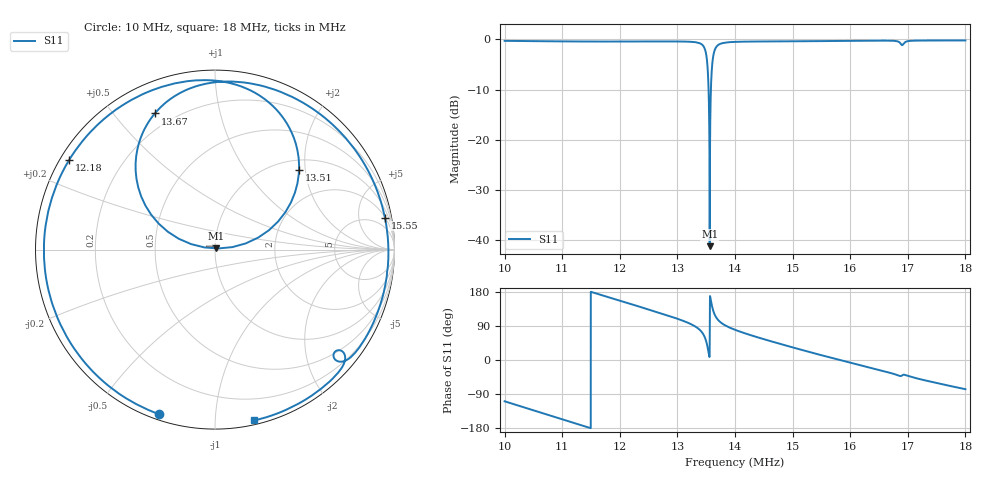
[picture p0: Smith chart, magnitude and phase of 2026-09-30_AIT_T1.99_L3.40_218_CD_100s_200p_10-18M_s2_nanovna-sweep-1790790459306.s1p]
! NanoVNA Web complex sweep
! Processing: unaveraged complex samples; linear segment spacing; no smoothing
# Hz S RI R 50
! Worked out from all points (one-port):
!   10100 points, 10 MHz to 18 MHz, reference 50 ohm
!   lowest |S11| = -41.2 dB at 13.56 MHz (marker M1), VSWR 1.02, Z = 50.6 + j0.647 ohm
!   |S11| at or under -10 dB: 13.54045 MHz to 13.58083 MHz (40.38 kHz wide, 0.298 % of centre)
!   S11 on the Smith chart (normalised r, x): 10 MHz: 0.02, -0.71; 12.18 MHz: 0.03, +0.28; 13.51 MHz: 1.22, +1.85; 13.67 MHz: 0.13, +0.64; 15.55 MHz: 2, +10; 18 MHz: 0.03, -1.26
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1e7  -0.3146 -0.9158
1.045936e7  -0.6295 -0.7283
1.10003e7  -0.8778 -0.3799
1.149688e7  -0.9535 0.000774
1.19998e7  -0.8744 0.3801
1.217562e7  -0.812 0.5003
1.30001e7  -0.3075 0.9031
1.323849e7  -0.0715 0.9442
1.33858e7  0.1618 0.903
1.345708e7  0.3494 0.7721
1.350935e7  0.4683 0.4439
1.353153e7  0.3862 0.1996
1.356004e7  0.00597 0.00639
1.358855e7  -0.3615 0.2026
1.360835e7  -0.4396 0.4097
1.363053e7  -0.4251 0.5887
1.366696e7  -0.3349 0.7587
1.377309e7  -0.1058 0.9099
1.39996e7  0.1697 0.9301
1.447084e7  0.5298 0.794
1.49991e7  0.8009 0.5263
1.554875e7  0.9467 0.1777
1.59994e7  0.9588 -0.122
1.679615e7  0.7528 -0.6025
1.68801e7  0.6643 -0.606
1.69989e7  0.7153 -0.6423
1.743371e7  0.5112 -0.8314
1.799841e7  0.2192 -0.9519
